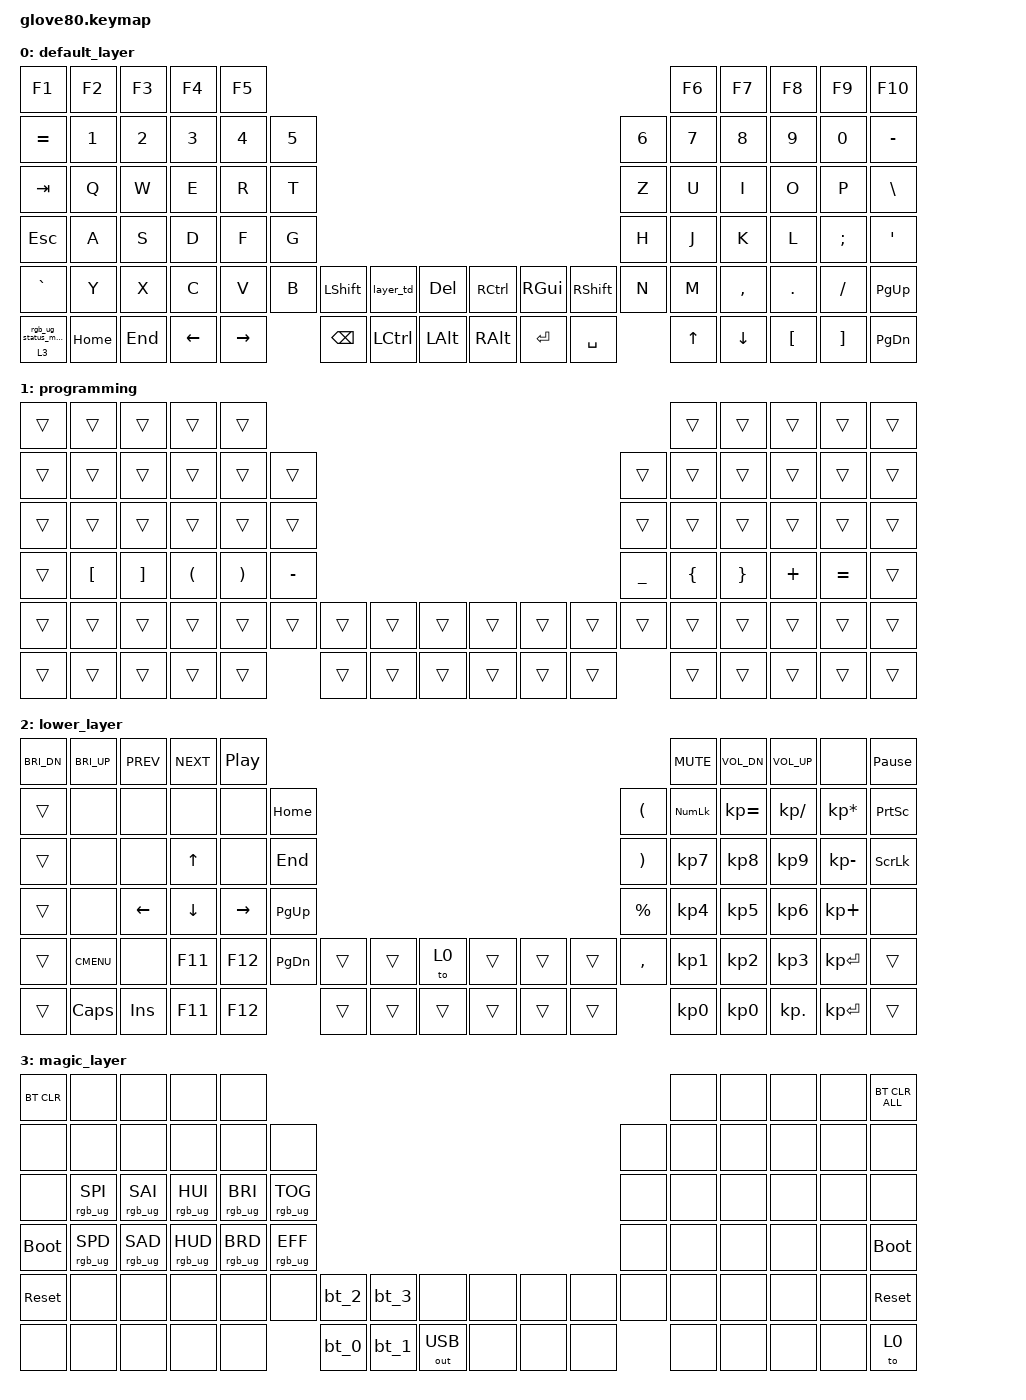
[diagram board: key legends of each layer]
/*
 * Copyright (c) 2020 The ZMK Contributors
 *
 * SPDX-License-Identifier: MIT
 */

#include <behaviors.dtsi>
#include <dt-bindings/zmk/bt.h>
#include <dt-bindings/zmk/keys.h>
#include <dt-bindings/zmk/outputs.h>
#include <dt-bindings/zmk/rgb.h>

#define HYPER LC(LS(LG(LALT)))

// layers

#define DEFAULT 0
#define LOWER 1
#define MAGIC 2
#define FACTORY_TEST 3

/ {
    behaviors {
        // For the "layer" key, it'd nice to be able to use it as either a shift or a toggle.
        // Configure it as a tap dance, so the first tap (or hold) is a &mo and the second tap is a &to

        layer_td: tap_dance_0 {
            compatible = "zmk,behavior-tap-dance";
            label = "LAYER_TAP_DANCE";
            #binding-cells = <0>;
            tapping-term-ms = <200>;
            bindings = <&mo 2>, <&to 2>;
        };

        magic: magic_hold_tap {
            compatible = "zmk,behavior-hold-tap";
            label = "MAGIC_HOLD_TAP";
            #binding-cells = <2>;
            flavor = "tap-preferred";
            tapping-term-ms = <200>;
            bindings = <&mo>, <&rgb_ug_status_macro>;
        };
    };

    macros {
        rgb_ug_status_macro: rgb_ug_status_macro_0 {
            label = "RGB_UG_STATUS";
            compatible = "zmk,behavior-macro";
            #binding-cells = <0>;
            bindings = <&rgb_ug RGB_STATUS>;
        };

        bt_0: bt_profile_macro_0 {
            label = "BT_0";
            compatible = "zmk,behavior-macro";
            #binding-cells = <0>;
            bindings = <&out OUT_BLE &bt BT_SEL 0>;
        };

        bt_1: bt_profile_macro_1 {
            label = "BT_1";
            compatible = "zmk,behavior-macro";
            #binding-cells = <0>;
            bindings = <&out OUT_BLE &bt BT_SEL 1>;
        };

        bt_2: bt_profile_macro_2 {
            label = "BT_2";
            compatible = "zmk,behavior-macro";
            #binding-cells = <0>;
            bindings = <&out OUT_BLE &bt BT_SEL 2>;
        };

        bt_3: bt_profile_macro_3 {
            label = "BT_3";
            compatible = "zmk,behavior-macro";
            #binding-cells = <0>;
            bindings = <&out OUT_BLE &bt BT_SEL 3>;
        };
    };

    combos {
        compatible = "zmk,combos";

        hr_l_shift {
            bindings = <&kp LSHIFT>;
            key-positions = <38 37>;
            timeout-ms = <20>;
        };

        hr_l_gui {
            bindings = <&kp LGUI>;
            key-positions = <37 36>;
            timeout-ms = <20>;
        };

        hr_l_ctrl {
            bindings = <&kp LCTRL>;
            key-positions = <36 35>;
            timeout-ms = <30>;
        };

        hr_r_shift {
            bindings = <&kp RSHIFT>;
            key-positions = <41 42>;
            timeout-ms = <20>;
        };

        hr_r_gui {
            bindings = <&kp RGUI>;
            key-positions = <42 43>;
            timeout-ms = <20>;
        };

        hr_r_ctrl {
            bindings = <&kp LCTRL>;
            key-positions = <43 44>;
            timeout-ms = <30>;
        };

        hr_l_shiftgui {
            bindings = <&kp LS(LGUI)>;
            key-positions = <38 36 37>;
            timeout-ms = <30>;
        };

        hr_r_shiftgui {
            bindings = <&kp LS(LGUI)>;
            key-positions = <41 42 43>;
            timeout-ms = <30>;
        };

        hr_l_ctrlgui {
            bindings = <&kp LG(LCTRL)>;
            key-positions = <37 36 35>;
            timeout-ms = <35>;
        };

        hr_r_ctrlgui {
            bindings = <&kp RC(RGUI)>;
            key-positions = <42 43 44>;
            timeout-ms = <35>;
        };

        hr_l_shiftctrl {
            bindings = <&kp LS(LCTRL)>;
            key-positions = <38 36>;
            timeout-ms = <30>;
        };

        hr_r_shiftctrl {
            bindings = <&kp RS(RCTRL)>;
            key-positions = <41 43>;
            timeout-ms = <30>;
        };

        hr_l_alt {
            bindings = <&kp LEFT_ALT>;
            key-positions = <50 49>;
            timeout-ms = <20>;
        };

        hr_r_alt {
            bindings = <&kp LEFT_ALT>;
            key-positions = <59 60>;
            timeout-ms = <20>;
        };

        hr_l_altgr {
            bindings = <&kp RIGHT_ALT>;
            key-positions = <50 37>;
            timeout-ms = <25>;
        };

        hr_r_altgr {
            bindings = <&kp RIGHT_ALT>;
            key-positions = <59 42>;
            timeout-ms = <25>;
        };

        hr_l_shiftaltgr {
            bindings = <&kp LS(RIGHT_ALT)>;
            key-positions = <38 37 50>;
            timeout-ms = <30>;
        };

        hr_r_shiftaltgr {
            bindings = <&kp LS(RIGHT_ALT)>;
            key-positions = <41 42 59>;
            timeout-ms = <30>;
        };

        l_prog_layer {
            bindings = <&mo 1>;
            key-positions = <48 49>;
            timeout-ms = <20>;
        };

        r_prog_layer {
            bindings = <&mo 1>;
            key-positions = <60 61>;
            timeout-ms = <20>;
        };
    };

    keymap {
        compatible = "zmk,keymap";

        default_layer {
            // ---------------------------------------------------------------------------------------------------------------------------------
            // |  F1   |  F2 |  F3 |  F4  |  F5  |                                                               |  F6   |  F7   |  F8  |   F9  |  F10 |
            // |  =    |  1  |  2  |  3   |  4   |  5   |                                                 |  6   |   7   |   8   |  9   |   0   |   -  |
            // |  TAB  |  Q  |  W  |  E   |  R   |  T   |                                                 |  Y   |   U   |   I   |  O   |   P   |   \  |
            // |  ESC  |  A  |  S  |  D   |  F   |  G   |                                                 |  H   |   J   |   K   |  L   |   ;   |   '  |
            // |   `   |  Z  |  X  |  C   |  V   |  B   | LSHFT | LCTRL | LOWER | | LGUI  | RCTRL | RSHFT |  N   |   M   |   ,   |  .   |   /   | PGUP |
            // | MAGIC | HOME| END | LEFT | RIGHT|      | BSPC  | DEL   | LALT  | | RALT  | RET   | SPACE |      |  UP   | DOWN  |  [   |   ]   | PGDN |

            bindings = <
&kp F1      &kp F2    &kp F3   &kp F4    &kp F5                                                                                       &kp F6  &kp F7     &kp F8    &kp F9    &kp F10
&kp EQUAL   &kp N1    &kp N2   &kp N3    &kp N4     &kp N5                                                                    &kp N6  &kp N7  &kp N8     &kp N9    &kp N0    &kp MINUS
&kp TAB     &kp Q     &kp W    &kp E     &kp R      &kp T                                                                     &kp Z   &kp U   &kp I      &kp O     &kp P     &kp BSLH
&kp ESC     &kp A     &kp S    &kp D     &kp F      &kp G                                                                     &kp H   &kp J   &kp K      &kp L     &kp SEMI  &kp SQT
&kp GRAVE   &kp Y     &kp X    &kp C     &kp V      &kp B   &kp LSHFT  &layer_td  &kp DELETE  &kp RCTRL  &kp RGUI  &kp RSHFT  &kp N   &kp M   &kp COMMA  &kp DOT   &kp FSLH  &kp PG_UP
&magic 3 0  &kp HOME  &kp END  &kp LEFT  &kp RIGHT          &kp BSPC   &kp LCTRL  &kp LALT    &kp RALT   &kp RET   &kp SPACE          &kp UP  &kp DOWN   &kp LBKT  &kp RBKT  &kp PG_DN
            >;
        };

        programming {
            bindings = <
&trans  &trans    &trans    &trans                &trans                                                                                       &trans          &trans           &trans    &trans     &trans
&trans  &trans    &trans    &trans                &trans                 &trans                                                     &trans     &trans          &trans           &trans    &trans     &trans
&trans  &trans    &trans    &trans                &trans                 &trans                                                     &trans     &trans          &trans           &trans    &trans     &trans
&trans  &kp LBKT  &kp RBKT  &kp LEFT_PARENTHESIS  &kp RIGHT_PARENTHESIS  &kp MINUS                                                  &kp UNDER  &kp LEFT_BRACE  &kp RIGHT_BRACE  &kp PLUS  &kp EQUAL  &trans
&trans  &trans    &trans    &trans                &trans                 &trans     &trans  &trans  &trans  &trans  &trans  &trans  &trans     &trans          &trans           &trans    &trans     &trans
&trans  &trans    &trans    &trans                &trans                            &trans  &trans  &trans  &trans  &trans  &trans             &trans          &trans           &trans    &trans     &trans
            >;
        };

        lower_layer {
            bindings = <
&kp C_BRI_DN  &kp C_BRI_UP  &kp C_PREV  &kp C_NEXT  &kp C_PP                                                                         &kp C_MUTE  &kp C_VOL_DN  &kp C_VOL_UP   &none            &kp PAUSE_BREAK
&trans        &none         &none       &none       &none      &kp HOME                                                   &kp LPAR   &kp KP_NUM  &kp KP_EQUAL  &kp KP_DIVIDE  &kp KP_MULTIPLY  &kp PSCRN
&trans        &none         &none       &kp UP      &none      &kp END                                                    &kp RPAR   &kp KP_N7   &kp KP_N8     &kp KP_N9      &kp KP_MINUS     &kp SLCK
&trans        &none         &kp LEFT    &kp DOWN    &kp RIGHT  &kp PG_UP                                                  &kp PRCNT  &kp KP_N4   &kp KP_N5     &kp KP_N6      &kp KP_PLUS      &none
&trans        &kp K_CMENU   &none       &kp F11     &kp F12    &kp PG_DN  &trans  &trans  &to 0   &trans  &trans  &trans  &kp COMMA  &kp KP_N1   &kp KP_N2     &kp KP_N3      &kp KP_ENTER     &trans
&trans        &kp CAPS      &kp INS     &kp F11     &kp F12               &trans  &trans  &trans  &trans  &trans  &trans             &kp KP_N0   &kp KP_N0     &kp KP_DOT     &kp KP_ENTER     &trans
            >;
        };

        magic_layer {
            bindings = <
&bt BT_CLR   &none            &none            &none            &none                                                                                     &none  &none  &none  &none  &bt BT_CLR_ALL
&none        &none            &none            &none            &none            &none                                                             &none  &none  &none  &none  &none  &none
&none        &rgb_ug RGB_SPI  &rgb_ug RGB_SAI  &rgb_ug RGB_HUI  &rgb_ug RGB_BRI  &rgb_ug RGB_TOG                                                   &none  &none  &none  &none  &none  &none
&bootloader  &rgb_ug RGB_SPD  &rgb_ug RGB_SAD  &rgb_ug RGB_HUD  &rgb_ug RGB_BRD  &rgb_ug RGB_EFF                                                   &none  &none  &none  &none  &none  &bootloader
&sys_reset   &none            &none            &none            &none            &none            &bt_2  &bt_3  &none         &none  &none  &none  &none  &none  &none  &none  &none  &sys_reset
&none        &none            &none            &none            &none                             &bt_0  &bt_1  &out OUT_USB  &none  &none  &none         &none  &none  &none  &none  &to 0
            >;
        };
    };
};
